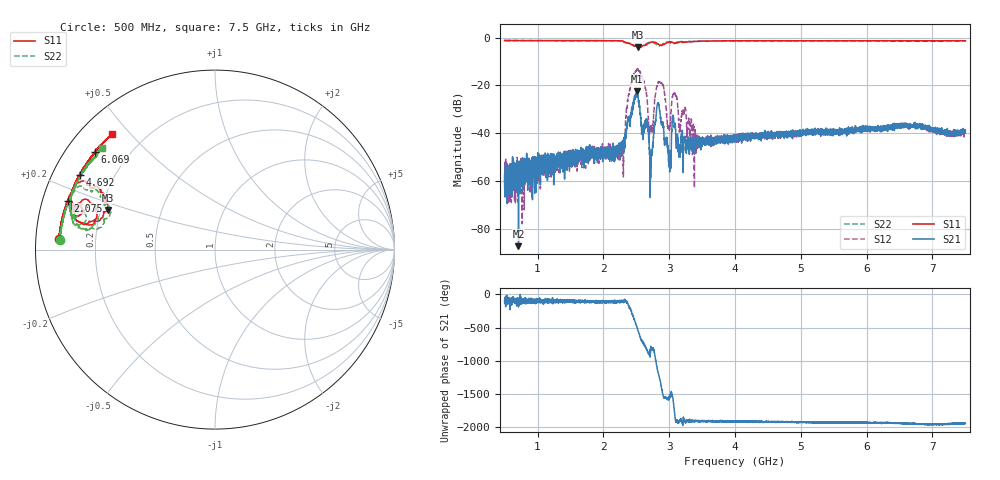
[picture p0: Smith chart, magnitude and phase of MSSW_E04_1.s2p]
!Keysight Technologies,M9374A,MY55442783,A.12.55.05
!Date: Wednesday, May 19, 2021 18:12:52
!Correction: S11(Full 2 Port(1,2))
!S21(Full 2 Port(1,2))
!S12(Full 2 Port(1,2))
!S22(Full 2 Port(1,2))
!S2P File: Measurements: S11, S21, S12, S22:
# Hz S  RI  R 50
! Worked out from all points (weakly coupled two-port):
!   7001 points, 500 MHz to 7.5 GHz, reference 50 ohm
!   highest |S21| = -22.44 dB at 2.512 GHz (marker M1); lowest = -87.3 dB at 711 MHz (marker M2)
!   lowest |S11| = -3.9 dB at 2.526 GHz (marker M3), VSWR 4.48, Z = 11.5 + j8.49 ohm
!   |S11| at or under -10 dB: nowhere
!   |S22| runs from -4.2 to -1.2 dB; largest |S21 - S12| = 0.18
!   S11 on the Smith chart (normalised r, x): 500 MHz: 0.07, +0.03; 2.075 GHz: 0.07, +0.16; 4.692 GHz: 0.08, +0.26; 6.069 GHz: 0.08, +0.35; 7.5 GHz: 0.09, +0.44
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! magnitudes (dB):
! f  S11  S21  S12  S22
! 500 MHz  -1.2  -62.9  -59.3  -1.2
! 711 MHz  -1.2  -87.3  -52.2  -1.2
! 1.667 GHz  -1.2  -48.5  -49.5  -1.3
! 2.075 GHz  -1.3  -46.2  -45.7  -1.3
! 2.295 GHz  -1.4  -46.0  -44.0  -1.5
! 2.398 GHz  -2.4  -35.7  -21.9  -2.4
! 2.512 GHz  -3.8  -22.4  -13.1  -4.1
! 2.526 GHz  -3.9  -24.0  -13.2  -4.2
! 2.629 GHz  -3.2  -38.2  -20.2  -2.9
! 2.719 GHz  -1.9  -52.7  -37.6  -1.8
! 2.834 GHz  -2.7  -27.5  -18.6  -3.3
! 2.908 GHz  -2.9  -36.4  -20.0  -2.5
! 2.998 GHz  -1.8  -50.1  -38.4  -1.9
! 3.082 GHz  -2.3  -36.7  -23.3  -2.3
! 3.142 GHz  -2.0  -44.9  -33.8  -1.7
! 3.415 GHz  -1.6  -43.0  -44.0  -1.5
! 4 GHz  -1.3  -41.4  -41.9  -1.4
! 4.692 GHz  -1.3  -40.2  -40.7  -1.3
! 5.167 GHz  -1.3  -39.7  -39.7  -1.4
! 6.069 GHz  -1.3  -38.2  -38.0  -1.4
! 6.334 GHz  -1.3  -38.1  -36.8  -1.4
! 7.5 GHz  -1.3  -38.8  -39.5  -1.4
